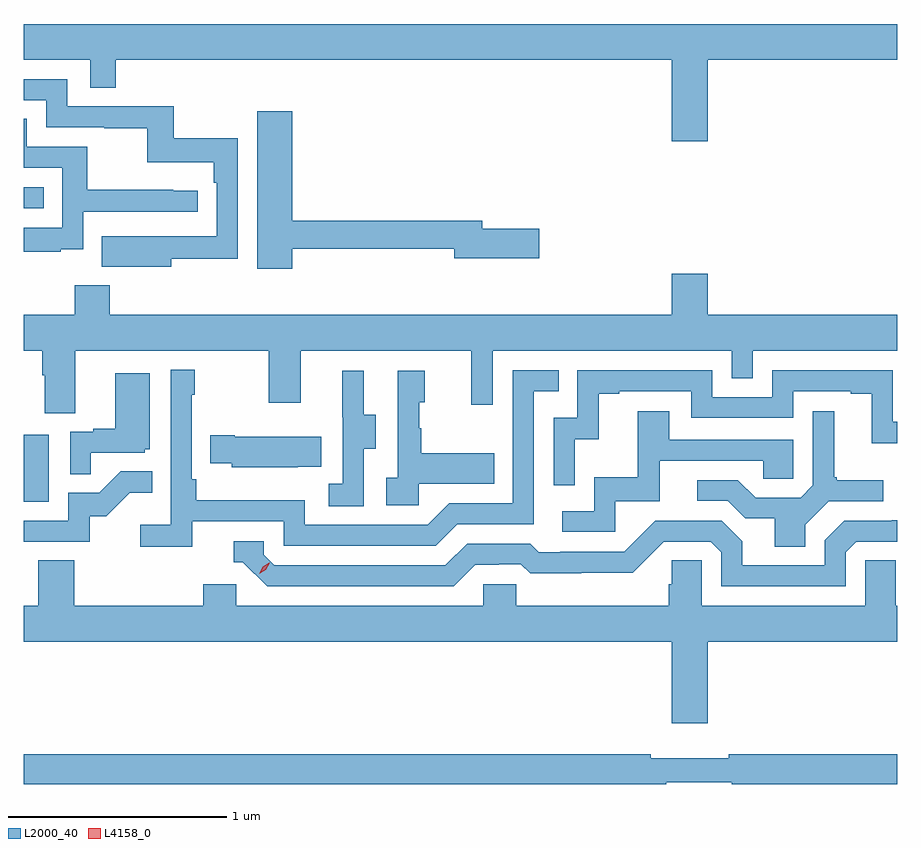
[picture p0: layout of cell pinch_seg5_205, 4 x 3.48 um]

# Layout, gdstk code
import gdstk
lib = gdstk.Library(unit=1e-6, precision=1e-09)
def R(c, l, rs):  # rectangles x0, y0, x1, y1
    for r in rs: c.add(gdstk.rectangle(r[:2], r[2:], *l))
def P(c, l, *ps):  # polygons
    for p in ps: c.add(gdstk.Polygon(p, *l))
L2000_40 = (2000, 40)
L4158_0 = (4158, 0)

pinch_seg5_205 = lib.new_cell('pinch_seg5_205')
R(pinch_seg5_205, L2000_40, [(1013.188,898.692,1013.302,898.999), (1013.188,900.036,1013.279,900.132)])
P(pinch_seg5_205, L2000_40, [(1016.32,900.716),(1017.188,900.716),(1017.188,900.88),(1013.188,900.88),(1013.188,900.716),(1013.493,900.716),(1013.493,900.589),(1013.609,900.589),(1013.609,900.716),(1016.156,900.716),(1016.156,900.342),(1016.32,900.342)],
  [(1013.863,899.806),(1014.168,899.806),(1014.168,900.358),(1013.875,900.358),(1013.875,900.504),(1013.388,900.504),(1013.388,900.627),(1013.188,900.627),(1013.188,900.531),(1013.292,900.531),(1013.292,900.408),(1013.557,900.408),(1013.557,900.403),(1013.754,900.403),(1013.754,900.248),(1014.059,900.248),(1014.059,900.152),(1014.072,900.152),(1014.072,899.907),(1013.759,899.907),(1013.759,899.908),(1013.545,899.908),(1013.545,899.768),(1013.863,899.768)],
  [(1014.418,899.85),(1015.16,899.85),(1015.16,899.807),(1015.549,899.807),(1015.549,899.942),(1015.288,899.942),(1015.288,899.978),(1014.418,899.978),(1014.418,900.481),(1014.257,900.481),(1014.257,899.76),(1014.418,899.76)],
  [(1013.357,899.849),(1013.46,899.849),(1013.46,900.021),(1013.986,900.021),(1013.986,900.117),(1013.873,900.117),(1013.873,900.122),(1013.48,900.122),(1013.48,900.318),(1013.203,900.318),(1013.203,900.446),(1013.188,900.446),(1013.188,900.222),(1013.364,900.222),(1013.364,899.946),(1013.188,899.946),(1013.188,899.838),(1013.357,899.838)],
  [(1013.425,899.384),(1014.31,899.384),(1014.31,899.145),(1014.457,899.145),(1014.457,899.384),(1015.238,899.384),(1015.238,899.136),(1015.335,899.136),(1015.335,899.384),(1016.43,899.384),(1016.43,899.257),(1016.526,899.257),(1016.526,899.384),(1017.188,899.384),(1017.188,899.548),(1016.32,899.548),(1016.32,899.737),(1016.156,899.737),(1016.156,899.548),(1013.582,899.548),(1013.582,899.683),(1013.422,899.683),(1013.422,899.548),(1013.188,899.548),(1013.188,899.384),(1013.273,899.384),(1013.273,899.272),(1013.285,899.272),(1013.285,899.098),(1013.425,899.098)],
  [(1013.96,898.602),(1014.378,898.602),(1014.378,898.491),(1015.075,898.491),(1015.174,898.59),(1015.524,898.59),(1015.524,899.199),(1015.637,899.199),(1015.637,899.295),(1015.428,899.295),(1015.428,898.686),(1015.137,898.686),(1015.038,898.587),(1014.474,898.587),(1014.474,898.699),(1013.978,898.699),(1013.978,898.795),(1013.958,898.795),(1013.958,899.183),(1013.971,899.183),(1013.971,899.296),(1013.862,899.296),(1013.862,898.588),(1013.721,898.588),(1013.721,898.486),(1013.96,898.486)],
  [(1015.71,898.979),(1015.82,898.979),(1015.82,899.187),(1015.915,899.187),(1015.915,899.199),(1016.244,899.199),(1016.244,899.076),(1016.712,899.076),(1016.712,899.199),(1016.975,899.199),(1016.975,899.187),(1017.071,899.187),(1017.071,898.961),(1017.188,898.961),(1017.188,899.059),(1017.168,899.059),(1017.168,899.295),(1016.616,899.295),(1016.616,899.172),(1016.34,899.172),(1016.34,899.295),(1015.722,899.295),(1015.722,899.076),(1015.614,899.076),(1015.614,898.767),(1015.71,898.767)],
  [(1014.744,898.936),(1014.799,898.936),(1014.799,899.091),(1014.745,899.091),(1014.745,899.293),(1014.647,899.293),(1014.647,899.079),(1014.648,899.079),(1014.648,898.775),(1014.585,898.775),(1014.585,898.672),(1014.744,898.672)],
  [(1014.996,898.775),(1015.343,898.775),(1015.343,898.915),(1015.009,898.915),(1015.009,899.03),(1014.999,899.03),(1014.999,899.148),(1015.024,899.148),(1015.024,899.293),(1014.9,899.293),(1014.9,898.802),(1014.849,898.802),(1014.849,898.677),(1014.996,898.677)],
  [(1013.495,898.917),(1013.742,898.917),(1013.742,898.932),(1013.764,898.932),(1013.764,899.281),(1013.606,899.281),(1013.606,899.026),(1013.507,899.026),(1013.507,899.013),(1013.4,899.013),(1013.4,898.819),(1013.495,898.819)],
  [(1015.896,898.695),(1016.101,898.695),(1016.101,898.881),(1016.575,898.881),(1016.575,898.797),(1016.712,898.797),(1016.712,898.977),(1016.143,898.977),(1016.143,899.107),(1015.999,899.107),(1015.999,898.804),(1015.8,898.804),(1015.8,898.65),(1015.653,898.65),(1015.653,898.554),(1015.896,898.554)],
  [(1016.767,898.588),(1016.874,898.695),(1017.124,898.695),(1017.124,898.792),(1016.911,898.792),(1016.911,898.804),(1016.899,898.804),(1016.899,899.107),(1016.802,899.107),(1016.802,898.767),(1016.745,898.71),(1016.539,898.71),(1016.458,898.791),(1016.271,898.791),(1016.271,898.698),(1016.412,898.698),(1016.492,898.618),(1016.627,898.618),(1016.627,898.486),(1016.767,898.486)],
  [(1014.443,898.853),(1014.551,898.853),(1014.551,898.99),(1014.154,898.99),(1014.154,898.998),(1014.043,898.998),(1014.043,898.868),(1014.141,898.868),(1014.141,898.85),(1014.443,898.85)],
  [(1013.49,898.626),(1013.566,898.626),(1013.673,898.733),(1013.777,898.733),(1013.777,898.832),(1013.633,898.832),(1013.535,898.734),(1013.391,898.734),(1013.391,898.605),(1013.188,898.605),(1013.188,898.509),(1013.49,898.509)],
  [(1015.255,898.404),(1015.362,898.404),(1015.362,898.407),(1015.465,898.407),(1015.507,898.365),(1015.74,898.365),(1015.74,898.367),(1015.976,898.367),(1016.118,898.509),(1016.334,898.509),(1016.382,898.461),(1016.382,898.305),(1016.952,898.305),(1016.952,898.461),(1017,898.509),(1017.188,898.509),(1017.188,898.607),(1017.162,898.607),(1017.162,898.605),(1016.946,898.605),(1016.856,898.515),(1016.856,898.401),(1016.479,898.401),(1016.479,898.511),(1016.385,898.605),(1016.079,898.605),(1015.938,898.464),(1015.645,898.464),(1015.645,898.461),(1015.546,898.461),(1015.507,898.5),(1015.218,898.5),(1015.119,898.401),(1014.336,898.401),(1014.288,898.449),(1014.288,898.512),(1014.149,898.512),(1014.149,898.416),(1014.192,898.416),(1014.303,898.305),(1015.156,898.305)],
  [(1016.32,898.052),(1017.188,898.052),(1017.188,898.216),(1017.181,898.216),(1017.181,898.424),(1017.042,898.424),(1017.042,898.216),(1016.292,898.216),(1016.292,898.424),(1016.155,898.424),(1016.155,898.314),(1016.141,898.314),(1016.141,898.216),(1015.443,898.216),(1015.443,898.314),(1015.293,898.314),(1015.293,898.216),(1014.162,898.216),(1014.162,898.314),(1014.011,898.314),(1014.011,898.216),(1013.42,898.216),(1013.42,898.424),(1013.255,898.424),(1013.255,898.216),(1013.188,898.216),(1013.188,898.052),(1016.156,898.052),(1016.156,897.678),(1016.32,897.678)],
  [(1016.129,897.408),(1016.429,897.408),(1016.429,897.4),(1017.188,897.4),(1017.188,897.536),(1016.416,897.536),(1016.416,897.517),(1016.06,897.517),(1016.06,897.536),(1013.188,897.536),(1013.188,897.4),(1016.129,897.4)])
P(pinch_seg5_205, L4158_0, [(1014.266,898.362),(1014.266,898.362),(1014.282,898.394),(1014.313,898.413),(1014.314,898.413),(1014.314,898.413),(1014.297,898.381),(1014.266,898.362)])

lib.write_gds('pinch_seg5_205.gds')
